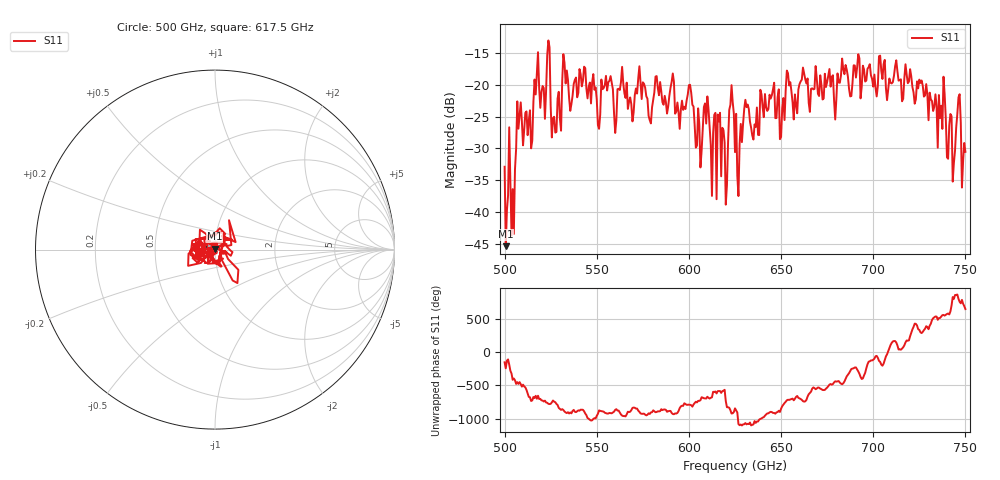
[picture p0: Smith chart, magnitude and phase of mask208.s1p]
!Created with skrf (http://scikit-rf.org).
# GHz S MA R 50.0
!freq magS11 angS11
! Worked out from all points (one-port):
!   401 points, 500 GHz to 750 GHz, reference 50 ohm
!   lowest |S11| = -45.4 dB at 500.6 GHz (marker M1), VSWR 1.01, Z = 49.8 + j0.487 ohm
!   |S11| at or under -10 dB: start of sweep to end of sweep
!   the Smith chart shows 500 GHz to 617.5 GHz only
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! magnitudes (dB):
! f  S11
! 500 GHz  -32.9
! 500.6 GHz  -45.4
! 504.4 GHz  -36.4
! 507.5 GHz  -26.9
! 513.8 GHz  -24.0
! 517.5 GHz  -18.3
! 523.8 GHz  -13.0
! 526.9 GHz  -25.0
! 531.2 GHz  -19.4
! 562.5 GHz  -20.8
! 579.4 GHz  -26.1
! 590.6 GHz  -19.5
! 593.8 GHz  -22.8
! 600.6 GHz  -20.0
! 605.6 GHz  -26.2
! 609.4 GHz  -26.1
! 620 GHz  -38.9
! 623.1 GHz  -20.0
! 625 GHz  -30.6
! 627.5 GHz  -29.3
! 631.2 GHz  -23.5
! 656.2 GHz  -22.8
! 687.5 GHz  -21.8
! 718.8 GHz  -19.7
! 738.1 GHz  -18.7
! 743.8 GHz  -32.3
! 746.2 GHz  -21.9
! 750 GHz  -30.5
